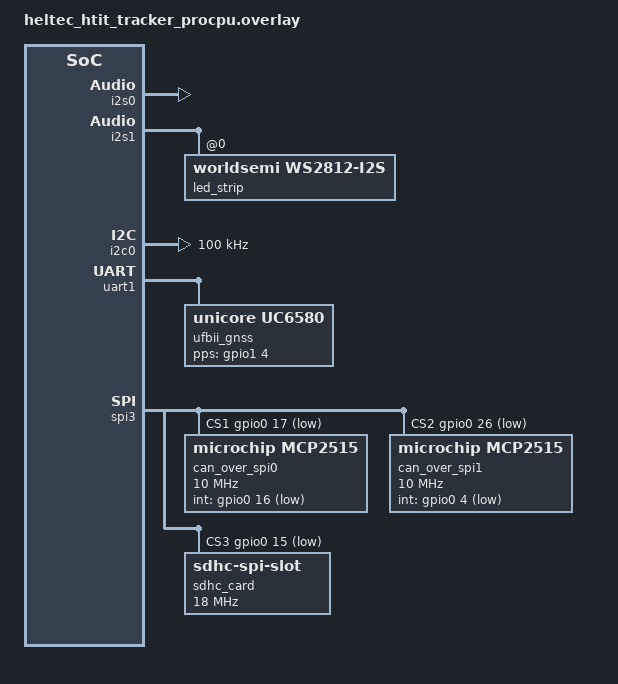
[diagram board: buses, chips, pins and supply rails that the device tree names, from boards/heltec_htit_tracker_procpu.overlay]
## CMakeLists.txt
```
cmake_minimum_required(VERSION 3.20.0)
find_package(Zephyr REQUIRED HINTS $ENV{ZEPHYR_BASE})

project(hyundai-remote)

target_sources(app PRIVATE 
    src/main.c
    src/built-in-test.c
    src/roles.c
    src/sys/storage.c
    src/sys/audio.c
    src/sys/nrvc2_can.c
    src/sys/comms.c
    src/sys/ledtach.c
)

target_include_directories(app PRIVATE
    nrvc2_security/include
    ../include/nrvc2
)

target_link_libraries(app PRIVATE 
    nrvc2_security
)
```

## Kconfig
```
config DEVICE_ROLE
    int "DEVICE_ROLE | 1: FOB, 2: TRC"
    range 1 2
    default 1 if CONFIG_BOARD_HELTEC_WIFI_LORA32_v3
    default 2 if CONFIG_BOARD_HELTEC_HTIT_TRACKER
    help
        Set device role, 1: fob-commander-transmitter, 2: tracker-controller-transponder

menu "Installed Devices"
    config EN_GPIO_LED0
        bool "LED0 Installed"
        default y
        help
            Enable if LED 0 is installed.

    config EN_GPIO_SW0
        bool "SW0 Installed"
        default y
        help
            Enable if Switch 0 is installed.

    config EN_DEV_LORA
        bool "LORA Installed"
        default y
        help
            Enable if LoRa transmitter is installed. 

    config EN_DEV_DISPLAY
        bool "Display Installed"
        default y
        help
            Enable if Display is installed. On TRC this enables backlight as well.
    
    config EN_DEV_SDHC
        bool "SD Card Installed"
        default y
        help
            Enable if SD Card/Reader is installed.
    
    if DEVICE_ROLE = 2 
        config EN_DEV_I2S
            bool "I2S Amp Installed"
            default y
            help
                Enable if I2S Amplifier is installed.

        config EN_DEV_UFIREBIRDII
            bool "UFirebirdII GNSS Installed"
            default y
            help
                Enable if UFirebirdII GNSS is installed.

        config EN_DEV_CAN0
            bool "CAN XCVR 0 Installed"
            default y
            help
                Enable if CAN transceiver 0 is installed. 
                TODO: When CAN1 added rename them from CANX to which net they are on.
                Ex: CAN0 -> CAN-OBD; CAN1 -> CAN-ECU or something....

        config EN_DEV_CAN1
            bool "CAN XCVR 1 Installed"
            default y
            help
                Enable if CAN transceiver 1 is installed

        config EN_DEV_LEDTACH
            bool "LED Tachometer Installed"
            default y
            help
                Enable if LED strip Tachometer is installed

        config LEDTACH_MAXBRIGHT
            int "Maximum brightness 0-255"
            default 96
            help
                Sets the maximum LED Tach Strip brightness
    endif
endmenu 

menu "Zephyr Kernel"
source "Kconfig.zephyr"
endmenu
```

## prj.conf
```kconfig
# memory
CONFIG_MAIN_STACK_SIZE=4096
CONFIG_SYSTEM_WORKQUEUE_STACK_SIZE=4096

CONFIG_GPIO=y
CONFIG_I2C=y
CONFIG_SPI=y

CONFIG_SERIAL=y
CONFIG_CONSOLE=y
CONFIG_UART_CONSOLE=y
CONFIG_UART_LINE_CTRL=y
CONFIG_UART_INTERRUPT_DRIVEN=y
CONFIG_SHELL=y
# CONFIG_CONSOLE_SUBSYS=y
CONFIG_STDOUT_CONSOLE=y
CONFIG_LOG=y
# CONFIG_LOG_BUFFER_SIZE=8192 # depends on deferred logging
CONFIG_PRINTK=y
# CONFIG_LOG_PRINTK=y

# display and lvgl
CONFIG_DISPLAY=y
# CONFIG_LVGL=y
# CONFIG_LV_USE_LABEL=y
# CONFIG_LV_USE_ARC=y
# CONFIG_LV_FONT_MONTSERRAT_14=y
# CONFIG_LV_Z_MEM_POOL_SIZE=250000

# sd card reqs
CONFIG_DISK_DRIVERS=y
CONFIG_DISK_ACCESS=y
CONFIG_FILE_SYSTEM=y
CONFIG_SDMMC_SUBSYS=y
CONFIG_DISK_DRIVER_SDMMC=y
CONFIG_FAT_FILESYSTEM_ELM=y
CONFIG_SD_LOG_LEVEL_WRN=y
CONFIG_FS_FATFS_LFN=y # large filenames >14 chars

# I2S audio reqs
CONFIG_I2S=y

# lora reqs
CONFIG_LORA=y

# kernel extras
CONFIG_KERNEL_SHELL=y
CONFIG_REBOOT=y

# disable outside of debugging
# CONFIG_LV_USE_LOG=y
CONFIG_LOG_MODE_IMMEDIATE=y
# CONFIG_STACK_SENTINEL=y
```

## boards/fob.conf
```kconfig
# devices
CONFIG_EN_GPIO_LED0=y
CONFIG_EN_GPIO_SW0=y
CONFIG_EN_DEV_LORA=n
CONFIG_EN_DEV_DISPLAY=n
CONFIG_EN_DEV_SDHC=n
# TODO: add i2s
```

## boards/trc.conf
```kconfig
# devices
CONFIG_EN_GPIO_LED0=y
CONFIG_EN_GPIO_SW0=y
CONFIG_EN_DEV_LORA=n
CONFIG_EN_DEV_DISPLAY=n
CONFIG_EN_DEV_SDHC=y
CONFIG_EN_DEV_I2S=n
CONFIG_EN_DEV_UFIREBIRDII=y


# ufirebirdii reqs
CONFIG_UFIREBIRDII=y
CONFIG_UC6580=y
CONFIG_SYSTEM_WORKQUEUE_STACK_SIZE=2048
CONFIG_PICOLIBC_IO_FLOAT=y

# CAN reqs
CONFIG_CAN=y
CONFIG_CAN_SHELL=y
CONFIG_CAN_MCP2515=y

# CAN Not ready as I need proper CANFD modules
CONFIG_EN_DEV_CAN0=n
CONFIG_EN_DEV_CAN1=n

# LED Strip
CONFIG_LED_STRIP=y
CONFIG_EN_DEV_LEDTACH=y
CONFIG_LEDTACH_MAXBRIGHT=16

# MDR I2C Testing
CONFIG_I2C=y
CONFIG_SHELL=y
CONFIG_I2C_SHELL=y
```

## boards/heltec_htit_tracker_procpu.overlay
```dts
#include <zephyr/dt-bindings/led/led.h>

/ {
    aliases {
        can0 = &can_over_spi0;
        can1 = &can_over_spi1;
        sdhc0 = &sdhc_card;
        i2s-tx = &i2s0;
        ufirebirdii = &ufbii_gnss;
        ledtach = &led_strip;
    };

    chosen {
        zephyr,canbus = &can_over_spi0;
    };
};

&pinctrl {
    i2s0_default: i2s0_default {
        group1 {
            pinmux = <I2S0_O_WS_GPIO7>, // set output WS pin (LRC)
                    <I2S0_O_BCK_GPIO6>, // set outpit BCK pin (BCLK)
                    <I2S0_O_SD_GPIO5>; // serial data, not mode select (DIN)
        };
    };

    i2s1_default: i2s1_default {
        group1 {
            pinmux = <I2S1_O_SD_GPIO1>; // replaces ADC in
        };
    };

    i2c0_default: i2c0_default {
        group1 {
            pinmux = <I2C0_SDA_GPIO45>, // MDA SDA
                <I2C0_SCL_GPIO46>;      // MDA SCL
            drive-open-drain;
            bias-pull-up;
        };
    };
};

&i2s0 {
    status = "okay";
    pinctrl-0 = <&i2s0_default>;
    pinctrl-names = "default";

    dmas = <&dma 3>;
    dma-names = "tx";
};

&i2s1 {
    status = "okay";
    pinctrl-0 = <&i2s1_default>;
    pinctrl-names = "default";

    dmas = <&dma 5>;
    dma-names = "tx";

    led_strip: ws2812@0 {
		compatible = "worldsemi,ws2812-i2s";
        reg = <0>;

        chain-length = <21>;
		color-mapping = <LED_COLOR_ID_GREEN
				 LED_COLOR_ID_RED
				 LED_COLOR_ID_BLUE>;
		reset-delay = <500>;
    };
};

&dma {
    status = "okay";
};

&i2c0 {
    status = "okay";
    pinctrl-0 = <&i2c0_default>;
    pinctrl-names = "default";
    clock-frequency = <I2C_BITRATE_STANDARD>; // increase later if needed
};

&uart1 {
    ufbii_gnss: uc6580 {
        compatible = "unicore,uc6580";
        status = "okay";
        pps-gpios = <&gpio1 4 GPIO_ACTIVE_HIGH>; // GPIO 36 == GPIO1 4
    };
};

&spi3 {
    cs-gpios = <&gpio0 8 GPIO_ACTIVE_LOW>,  // preexisting lora cs
            <&gpio0 17 GPIO_ACTIVE_LOW>,    // CAN module 0
            <&gpio0 26 GPIO_ACTIVE_LOW>,    // CAN module 1
            <&gpio0 15 GPIO_ACTIVE_LOW>;    // SD card

    can_over_spi0: can@1 {
        compatible = "microchip,mcp2515";
        reg = <1>;
        status = "okay";
        osc-freq = <DT_FREQ_M(8)>;
        int-gpios = <&gpio0 16 GPIO_ACTIVE_LOW>;
        spi-max-frequency = <DT_FREQ_M(10)>;
    };

    can_over_spi1: can@2 {
        compatible = "microchip,mcp2515";
        reg = <2>;
        status = "okay";
        osc-freq = <DT_FREQ_M(8)>;
        int-gpios = <&gpio0 4 GPIO_ACTIVE_LOW>;
        spi-max-frequency = <DT_FREQ_M(10)>;
    };

    sdhc_card: sdhc@3 {
        compatible = "zephyr,sdhc-spi-slot";
        reg = <3>;
        status = "okay";
        mmc {
            compatible = "zephyr,sdmmc-disk";
            disk-name = "SD";
            status = "okay";
        };
        spi-max-frequency = <DT_FREQ_M(18)>;
    };
};
```

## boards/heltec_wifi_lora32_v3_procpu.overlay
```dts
/ {
    aliases {
    };

    chosen {
    };
};

&pinctrl {
    spim3_default: spim3_default {
		group1 {
			pinmux = <SPIM3_MISO_GPIO41>,
				 <SPIM3_SCLK_GPIO39>;
		};
		group2 {
			pinmux = <SPIM3_MOSI_GPIO40>;
			output-low;
		};
	};
};

&spi3 {
    #address-cells = <1>;
    #size-cells = <0>;
    status = "okay";
    pinctrl-0 = <&spim3_default>;
    pinctrl-names = "default";
    cs-gpios = <&gpio1 10 GPIO_ACTIVE_LOW>; // SD card GPIO 42 == GPIO1 10

    sdhc_card: sdhc@0 {
        compatible = "zephyr,sdhc-spi-slot";
        reg = <0>;
        status = "okay";
        mmc {
            compatible = "zephyr,sdmmc-disk";
            disk-name = "SD";
            status = "okay";
        };
        spi-max-frequency = <DT_FREQ_M(18)>;
    };
};
```

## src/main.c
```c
#include <stdio.h>
#include <zephyr/logging/log.h>
#include <zephyr/kernel.h>

#include <nrvc2_security.h>
#include <nrvc2_errno.h>

#include "built-in-test.h"
#include "roles.h"

LOG_MODULE_REGISTER(main);

int main(void) {
    printk("Waking up...\n\n");
    
    k_msleep(2 * 1000);

    bool configured = role_config();
    if (!configured) {
        LOG_ERR("ROLE CFG FAIL");
    }
    
    bit_basic();

    // comms test
    const char pt[] = "The quick brown fox jumped over the lazy dog!\n";
    uint8_t ct[sizeof(pt)];
    uint8_t pt_out[sizeof(pt)];
    const keyopt_t keyopt = NRVC2_KEYOPT_SESS_COMMS_TRC2FOB;
    uint8_t tag[NRVC2_SECURITY_TAG_SIZE];

    // encryption test
    int ret = nrvc2_security_encrypt_and_sign(keyopt, pt, sizeof(pt), ct, tag);
    printk("encrypt and sign 1 returns %d\n", ret);

    printk("sign 1: 0x");
    for (uint8_t* tb = tag; tb < tag + sizeof(tag); tb++)
        printk("%02x", *tb);
    printk("\n");

    printk("ct 1: 0x");
    for (uint8_t* cb = ct; cb < ct + sizeof(ct); cb++)
        printk("%02x", *cb);
    printk("\n");

    // decryption test
    int seqn = 0;
    ret = nrvc2_security_decrypt_and_verify(keyopt, ct, sizeof(ct), seqn, tag, pt_out);
    if (ret == -EAUTH)
        printk("Auth error!\n");
    if (ret == -ESEQUENCE)
        printk("Sequence number error!\n");

    
    printk("pt: '");
    for (char* c = pt_out; c < pt_out + sizeof(pt_out); c++)
        printk("%c", *c);
    printk("'\n");


    return 0;
}
```

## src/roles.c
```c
#include "roles.h"

#include <zephyr/logging/log.h>
#include <zephyr/fs/fs.h>
#include <zephyr/storage/disk_access.h>
#include <zephyr/drivers/display.h>
#include <zephyr/shell/shell.h>
#include <nrvc2_security.h>

#include "sys/nrvc2_can.h"
#include "sys/comms.h"
#include "sys/ledtach.h"

const char *FOB_STR = "FOB-COMMANDER-XMTR";
const char *TRC_STR = "TRACK-CONTROL-XPDR";

#if CONFIG_EN_GPIO_LED0
#define LED0_NODE DT_ALIAS(led0)
const struct gpio_dt_spec led0 = GPIO_DT_SPEC_GET(LED0_NODE, gpios);
#endif

#if CONFIG_EN_GPIO_SW0
#define SW0_NODE DT_ALIAS(sw0)
const struct gpio_dt_spec sw0 = GPIO_DT_SPEC_GET(SW0_NODE, gpios);
#endif

#if CONFIG_EN_DEV_LORA
#define LORA_NODE DT_NODELABEL(lora0)
const struct device * const lora = DEVICE_DT_GET(LORA_NODE);
#endif

#if defined(CONFIG_DEVICE_ROLE) && (CONFIG_DEVICE_ROLE == DEF_ROLE_FOB)

#if CONFIG_EN_DEV_DISPLAY
#define DISPLAY_NODE DT_CHOSEN(zephyr_display)
const struct device * const display = DEVICE_DT_GET(DISPLAY_NODE);
#endif

static role_devs_t m_role_devs_fob = {
#if CONFIG_EN_GPIO_LED0
    .gpio_led0 = &led0,
    .gpio_led0_stat = DEVSTAT_NOT_RDY,
#else
    .gpio_led0 = NULL,
    .gpio_led0_stat = DEVSTAT_NOTINSTALLED,
#endif

#if CONFIG_EN_GPIO_SW0
    .gpio_sw0 = &sw0,
    .gpio_sw0_stat = DEVSTAT_NOT_RDY,
#else
    .gpio_sw0 = &sw0,
    .gpio_sw0_stat = DEVSTAT_NOTINSTALLED,
#endif

#if CONFIG_EN_DEV_LORA
    .dev_lora = lora,
    .dev_lora_stat = DEVSTAT_NOT_RDY,
#else
    .dev_lora = NULL,
    .dev_lora_stat = DEVSTAT_NOTINSTALLED,
#endif

#if CONFIG_EN_DEV_DISPLAY
    .dev_display = display,
    .gpio_blight = NULL,
    .dev_display_stat = DEVSTAT_NOT_RDY,
    .gpio_blight_stat = DEVSTAT_NOTINSTALLED,
#else
    .dev_display = NULL,
    .gpio_blight = NULL,
    .dev_display_stat = DEVSTAT_NOTINSTALLED,
    .gpio_blight_stat = DEVSTAT_NOTINSTALLED,
#endif

    .dev_can0 = NULL,
    .dev_can0_stat  = DEVSTAT_NOTINSTALLED,

    .dev_can1 = NULL,
    .dev_can1_stat = DEVSTAT_NOTINSTALLED,

    .dev_i2s = NULL,
    .dev_i2s_stat = DEVSTAT_NOTINSTALLED,

    .dev_ufirebirdii = NULL,
    .dev_ufirebirdii_stat = DEVSTAT_NOTINSTALLED,

    .dev_ledtach = NULL,
    .dev_ledtach_stat = DEVSTAT_NOTINSTALLED,
    .dev_ledtach_chainlen = 0,

#if CONFIG_EN_DEV_SDHC
    .dev_sdcard_stat = DEVSTAT_NOT_RDY,
#else
    .dev_sdcard_stat = DEVSTAT_NOTINSTALLED
#endif
};
role_devs_t* role_devs = &m_role_devs_fob;

#elif defined(CONFIG_DEVICE_ROLE) && (CONFIG_DEVICE_ROLE == DEF_ROLE_TRC)

#if CONFIG_EN_DEV_DISPLAY
#define DISPLAY_NODE DT_CHOSEN(zephyr_display)
const struct device * const display = DEVICE_DT_GET(DISPLAY_NODE);
#define BLIGHT_NODE DT_ALIAS(blight)
const struct gpio_dt_spec blight = GPIO_DT_SPEC_GET(BLIGHT_NODE, gpios);
#endif

#if CONFIG_EN_DEV_I2S
#define I2S_NODE DT_ALIAS(i2s_tx)
const struct device * const i2s = DEVICE_DT_GET(I2S_NODE);
#endif

#if CONFIG_EN_DEV_UFIREBIRDII
#define UFIREBIRDII_NODE DT_ALIAS(ufirebirdii)
const struct device * const ufirebirdii = DEVICE_DT_GET(UFIREBIRDII_NODE);
#endif

#if CONFIG_EN_DEV_CAN0
#define CAN0_NODE DT_ALIAS(can0) 
const struct device * const can0 = DEVICE_DT_GET(CAN0_NODE);
#endif

#if CONFIG_EN_DEV_CAN1
#define CAN1_NODE DT_ALIAS(can1)
const struct device * const can1 = DEVICE_DT_GET(CAN1_NODE);
#endif

#if CONFIG_EN_DEV_LEDTACH
#define LEDTACH_NODE DT_ALIAS(ledtach)
const struct device * const ledtach = DEVICE_DT_GET(LEDTACH_NODE);
const size_t ledtach_chainlen = DT_PROP(LEDTACH_NODE, chain_length);
#endif

static role_devs_t m_role_devs_trc = {
#if CONFIG_EN_GPIO_LED0
    .gpio_led0 = &led0,
    .gpio_led0_stat = DEVSTAT_NOT_RDY,
#else
    .gpio_led0 = NULL,
    .gpio_led0_stat = DEVSTAT_NOTINSTALLED,
#endif

#if CONFIG_EN_GPIO_SW0
    .gpio_sw0 = &sw0,
    .gpio_sw0_stat = DEVSTAT_NOT_RDY,
#else
    .gpio_sw0 = &sw0,
    .gpio_sw0_stat = DEVSTAT_NOTINSTALLED,
#endif

#if CONFIG_EN_DEV_LORA
    .dev_lora = lora,
    .dev_lora_stat = DEVSTAT_NOT_RDY,
#else
    .dev_lora = NULL,
    .dev_lora_stat = DEVSTAT_NOTINSTALLED,
#endif

#if CONFIG_EN_DEV_DISPLAY
    .dev_display = display,
    .gpio_blight = &blight,
    .dev_display_stat = DEVSTAT_NOT_RDY,
    .gpio_blight_stat = DEVSTAT_NOT_RDY,
#else
    .dev_display = NULL,
    .gpio_blight = NULL,
    .dev_display_stat = DEVSTAT_NOTINSTALLED,
    .gpio_blight_stat = DEVSTAT_NOTINSTALLED,
#endif

#if CONFIG_EN_DEV_CAN0
    .dev_can0 = can0,
    .dev_can0_stat = DEVSTAT_NOT_RDY,
#else
    .dev_can0 = NULL,
    .dev_can0_stat  = DEVSTAT_NOTINSTALLED,
#endif

#if CONFIG_EN_DEV_CAN1
    .dev_can1 = can1,
    .dev_can1_stat = DEVSTAT_NOT_RDY,
#else
    .dev_can0 = NULL,
    .dev_can0_stat  = DEVSTAT_NOTINSTALLED,
#endif

#if CONFIG_EN_DEV_I2S
    .dev_i2s = i2s,
    .dev_i2s_stat = DEVSTAT_NOT_RDY,
#else
    .dev_i2s = NULL,
    .dev_i2s_stat = DEVSTAT_NOTINSTALLED,
#endif

#if CONFIG_EN_DEV_UFIREBIRDII
    .dev_ufirebirdii = ufirebirdii,
    .dev_ufirebirdii_stat = DEVSTAT_NOT_RDY,
#else
    .dev_ufirebirdii = NULL,
    .dev_ufirebirdii_stat = DEVSTAT_NOTINSTALLED,
#endif

#if CONFIG_EN_DEV_LEDTACH
    .dev_ledtach = ledtach,
    .dev_ledtach_stat = DEVSTAT_NOT_RDY,
    .dev_ledtach_chainlen = ledtach_chainlen,
#else
    .dev_ledtach = NULL,
    .dev_ledtach_stat = DEVSTAT_NOTINSTALLED,
    .dev_ledtach_chainlen = 0,
#endif

#if CONFIG_EN_DEV_SDHC
    .dev_sdcard_stat = DEVSTAT_NOT_RDY
#else
    .dev_sdcard_stat = DEVSTAT_NOTINSTALLED
#endif
};
role_devs_t* role_devs = &m_role_devs_trc;

#endif

LOG_MODULE_REGISTER(roles, LOG_LEVEL_DBG);

static bool init_common()
{ 
    const char *HASHES = "################################";
    printk("%s\n", HASHES);
    printk("#           CFG INIT           #\n");
    printk("%s\n", HASHES);

    bool rdy = true;

    // LED0
    if (role_devs->gpio_led0_stat == DEVSTAT_NOTINSTALLED)
        LOG_INF("LED0\t\tNOT INSTALLED");
    else if (!device_is_ready(role_devs->gpio_led0->port)) {
        LOG_ERR("LED device is not ready");
        role_devs->gpio_led0_stat = DEVSTAT_ERR;
        rdy = false;
    } else {
        role_devs->gpio_led0_stat = DEVSTAT_RDY;
        LOG_INF("LED0\t\tRDY");
    }
    
    // SW0
    if (role_devs->gpio_sw0_stat == DEVSTAT_NOTINSTALLED)
        LOG_INF("SW0\t\tNOT INSTALLED");
    if (!device_is_ready(role_devs->gpio_sw0->port)) {
        LOG_ERR("User switch device is not ready");
        role_devs->gpio_sw0_stat = DEVSTAT_ERR;
        rdy = false;
    } else {
        role_devs->gpio_sw0_stat = DEVSTAT_RDY;
        LOG_INF("SW0\t\tRDY");
    }
    
    // LORA
    if (role_devs->dev_lora_stat == DEVSTAT_NOTINSTALLED)
        LOG_INF("LORA\t\tNOT INSTALLED");
    else if (!device_is_ready(role_devs->dev_lora)) {
        LOG_ERR("LoRa device is not ready");
        role_devs->dev_lora_stat = DEVSTAT_ERR;
        rdy = false;
    } else {
        role_devs->dev_lora_stat = DEVSTAT_RDY;
        LOG_INF("LORA\t\tRDY");
    }

    // Display
    if (role_devs->dev_display_stat == DEVSTAT_NOTINSTALLED)
        LOG_INF("DISPLAY\t\tNOT INSTALLED");
    else if (!device_is_ready(role_devs->dev_display)) {
        LOG_ERR("Display device is not ready");
        role_devs->dev_display_stat = DEVSTAT_ERR;
        rdy = false;
    } else {
        role_devs->dev_display_stat = DEVSTAT_RDY;
        LOG_INF("DISPLAY\t\tRDY");

        // clear display
        int ret = display_blanking_on(role_devs->dev_display);
        if (ret < 0) {
            LOG_ERR("Display blanking on failed: %d", ret);
            role_devs->dev_display_stat = DEVSTAT_ERR;
            rdy = false;
        }
    }

    // SDHC
    if (role_devs->dev_sdcard_stat == DEVSTAT_NOTINSTALLED) 
        LOG_INF("SDHC\t\tNOT INSTALLED");
    else {
        do {
            const char* disk_pdrv = "SD";

            int ret = disk_access_ioctl(disk_pdrv, DISK_IOCTL_CTRL_INIT, NULL);

            if (ret < 0) {
                LOG_ERR("SD card init failed: storage init error %d", ret);
                role_devs->dev_sdcard_stat = DEVSTAT_ERR;
                rdy = false;
                break;
            }

            k_msleep(2);

            ret = disk_access_ioctl(disk_pdrv, DISK_IOCTL_CTRL_DEINIT, NULL);
            if (ret < 0) {
                LOG_ERR("SD card init failed: storage deinit error %d", ret);
                role_devs->dev_sdcard_stat = DEVSTAT_ERR;
                rdy = false;
                break;
            }

            role_devs->dev_sdcard_stat = DEVSTAT_RDY;  
            LOG_INF("SDHC\t\tRDY");
        } while (false);
    }

    // Systems
    // Security
    {
        int ret = nrvc2_security_init();
        if (ret < 0) {
            LOG_ERR("Security init failed: %d", ret);
            rdy = false;
        }

        LOG_INF("SECURITY\tRDY");
    }

    // Comms
    // requires lora to be ready to configure modem
    if (role_devs->dev_lora_stat != DEVSTAT_RDY)
        LOG_INF("COMMS\t\tDISABLED");
    else {
        int ret = comms_init();
        
        if (ret < 0) {
            LOG_ERR("Comms init failed: %d", ret);
            rdy = false;
            LOG_INF("COMMS\t\tRDY");
        }
    }

    return rdy;
}


#if defined(CONFIG_DEVICE_ROLE) && (CONFIG_DEVICE_ROLE == DEF_ROLE_FOB)
static bool init_fob() {
    return true;
}

#elif defined(CONFIG_DEVICE_ROLE) && (CONFIG_DEVICE_ROLE == DEF_ROLE_TRC)

static bool init_trc_i2s() {
    if (role_devs->dev_i2s_stat == DEVSTAT_NOTINSTALLED) {
        LOG_INF("I2S\t\tNOT INSTALLED");
        return true;
    }

    int ret = device_is_ready(role_devs->dev_i2s);
    if (ret < 0) {
        LOG_ERR("I2S device is not ready");
        role_devs->dev_i2s_stat = DEVSTAT_ERR;
        return false;
    }

    role_devs->dev_i2s_stat = DEVSTAT_RDY;
    LOG_INF("I2S\t\tRDY");
    return true;
}

static bool init_trc_ufirebirdii() {
    if (role_devs->dev_ufirebirdii_stat == DEVSTAT_NOTINSTALLED) {
        LOG_INF("UFirebirdII\tNOT INSTALLED");
        return true;
    }

    int ret = device_is_ready(role_devs->dev_ufirebirdii);
    if (ret < 0) {
        LOG_ERR("UFirebirdII device is not ready");
        role_devs->dev_ufirebirdii_stat = DEVSTAT_ERR;
        return false;
    }

    role_devs->dev_ufirebirdii_stat = DEVSTAT_RDY;
    LOG_INF("UFirebirdII\tRDY");
    
    return true;
}

static bool init_trc_can0() {
    if (role_devs->dev_can0_stat == DEVSTAT_NOTINSTALLED) {
        LOG_INF("CAN0\t\tNOT INSTALLED");
        return true;
    }
    
    int ret = device_is_ready(role_devs->dev_can0);
    if (ret < 0) {
        LOG_ERR("CAN device is not ready");
        role_devs->dev_can0_stat = DEVSTAT_ERR;
        return false;
    }

    ret = can_init(role_devs->dev_can0, "CAN0");
    if (ret < 0) {
        role_devs->dev_can0_stat = DEVSTAT_ERR;        
        return false;
    }

    role_devs->dev_can0_stat = DEVSTAT_RDY;
    LOG_INF("CAN0\t\tRDY");

    return true;
}

static bool init_trc_can1() {
    if (role_devs->dev_can1_stat == DEVSTAT_NOTINSTALLED) {
        LOG_INF("CAN1\t\tNOT INSTALLED");
        return true;
    }

    int ret = device_is_ready(role_devs->dev_can1);
    if (ret < 0) {
        LOG_ERR("CAN1 device is not ready");
        role_devs->dev_can1_stat = DEVSTAT_ERR;
        return false;
    }

    ret = can_init(role_devs->dev_can1, "CAN1");
    if (ret < 0) {
        role_devs->dev_can1_stat = DEVSTAT_ERR;        
        return false;
    }

    role_devs->dev_can1_stat = DEVSTAT_RDY;
    LOG_INF("CAN1\t\tRDY");
    
    return true;
}

static bool init_trc_ledtach() {
    if (role_devs->dev_ledtach_stat == DEVSTAT_NOTINSTALLED) {
        LOG_INF("LEDTACH\t\tNOT INSTALLED");
        return true;
    }

    if (!device_is_ready(role_devs->dev_ledtach)) {
        LOG_ERR("LEDTACH device is not ready");
        role_devs->dev_ledtach_stat = DEVSTAT_ERR;
        return false;
    }

    const struct device * const i2s1 = DEVICE_DT_GET(DT_NODELABEL(i2s1));
    if (!device_is_ready(i2s1)) {
        LOG_ERR("LEDTACH I2S DMA is not ready");
        role_devs->dev_ledtach_stat = DEVSTAT_ERR;
        return false;
    }

    if (role_devs->dev_ledtach_chainlen < 1) {
        LOG_ERR("LEDTACH chain length prop must be nonzero");
        role_devs->dev_ledtach_stat = DEVSTAT_ERR;
        return false;
    }

    int ret = ledtach_init();
    if (ret < 0) {
        LOG_ERR("Failed to init LEDTACH SYS: %d", ret);
        role_devs->dev_ledtach_stat = DEVSTAT_ERR;
        return false;
    }

    role_devs->dev_ledtach_stat = DEVSTAT_RDY;
    LOG_INF("LEDTACH\t\tRDY");

    return true;
}

static bool init_trc() {
    bool rdy = true;

    if (role_devs->dev_display_stat == DEVSTAT_RDY && !device_is_ready(role_devs->gpio_blight->port)) {
        LOG_ERR("TRC Backlight GPIO Dev not ready.");
        role_devs->dev_display_stat = DEVSTAT_NOT_RDY;
        role_devs->gpio_blight_stat = DEVSTAT_ERR;
        rdy = false;
    } else 
        role_devs->gpio_blight_stat = DEVSTAT_RDY;

    rdy &= init_trc_i2s();

    rdy &= init_trc_ufirebirdii();

    rdy &= init_trc_can0();
    rdy &= init_trc_can1();

    rdy &= init_trc_ledtach();

    return rdy;
}

#endif

bool role_config()
{
    // config common
    bool success = true;

    success &= init_common();
    if (!success)
        LOG_ERR("Role init common failed.");

    dev_role role = role_get();

    switch (role)
    {
    case ROLE_FOB:
#if defined(CONFIG_DEVICE_ROLE) && (CONFIG_DEVICE_ROLE == DEF_ROLE_FOB)
        success &= init_fob();
#endif
        break;
    case ROLE_TRC:
#if defined(CONFIG_DEVICE_ROLE) && (CONFIG_DEVICE_ROLE == DEF_ROLE_TRC)
        success &= init_trc();
#endif
        break;
    case ROLE_UKN:
    default:
        LOG_ERR("Role init failed: Unknown role.");
        return false;
    }

    LOG_INF("Role %s configuration %s.", role_tostring(), success ? "complete" : "incomplete");
    return success;
}

static const char* devstat_to_str(devstat_t s) {
    switch (s) {
        case DEVSTAT_NOTINSTALLED: return "NOT INSTALLED";
        case DEVSTAT_NOT_RDY: return "NOT RDY";
        case DEVSTAT_RDY: return "RDY";
        case DEVSTAT_ERR: return "ERR";
        default: return "UNKNOWN";
    }
}

static int shell_role_status(const struct shell *shell, size_t argc, char **argv) {
    (void)shell; (void)argc; (void)argv;

    LOG_INF("--- Device status ---");
    LOG_INF("LED0\t\t%s", devstat_to_str(role_devs->gpio_led0_stat));
    LOG_INF("SW0\t\t%s", devstat_to_str(role_devs->gpio_sw0_stat));
    LOG_INF("LORA\t\t%s", devstat_to_str(role_devs->dev_lora_stat));
    LOG_INF("DISPLAY\t\t%s", devstat_to_str(role_devs->dev_display_stat));
    LOG_INF("BLIGHT\t\t%s", devstat_to_str(role_devs->gpio_blight_stat));
    LOG_INF("CAN0\t\t%s", devstat_to_str(role_devs->dev_can0_stat));
    LOG_INF("CAN1\t\t%s", devstat_to_str(role_devs->dev_can1_stat));
    LOG_INF("I2S\t\t%s", devstat_to_str(role_devs->dev_i2s_stat));
    LOG_INF("UFBII\t\t%s", devstat_to_str(role_devs->dev_ufirebirdii_stat));
    LOG_INF("SDHC\t\t%s", devstat_to_str(role_devs->dev_sdcard_stat));
    LOG_INF("LEDTACH\t\t%s", devstat_to_str(role_devs->dev_ledtach_stat));

    LOG_INF("--- Systems status ---");
    LOG_INF("SECURITY\t%s", nrvc2_security_rdy() ? "RDY" : "NOT RDY");
    LOG_INF("COMMS\t\t%s", comms_rdy() ? "RDY" : "NOT RDY");
    LOG_INF("LEDTACH\t\t%s", ledtach_rdy() ? "RDY" : "NOT RDY");

    return 0;
}


SHELL_STATIC_SUBCMD_SET_CREATE(sub_role,
    SHELL_CMD(status, NULL, "Print device status", shell_role_status),
    SHELL_SUBCMD_SET_END
);

SHELL_CMD_REGISTER(role, &sub_role, "Role utilities", NULL);
```

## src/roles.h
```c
/// Provides devices and role management

#ifndef ROLES_H
#define ROLES_H

#include <stdbool.h>

#include <zephyr/kernel.h>
#include <zephyr/drivers/gpio.h>
#include <zephyr/linker/linker-defs.h>

extern const char* FOB_STR;
extern const char* TRC_STR;

#define DEF_ROLE_FOB 1
#define DEF_ROLE_TRC 2
#define DEF_ROLE_UKN 0

#define DEF_ROLE_IS_TRC (defined(CONFIG_DEVICE_ROLE) && (CONFIG_DEVICE_ROLE == DEF_ROLE_TRC))
#define ROLE_IS_FOB (role_get() == ROLE_FOB)
#define ROLE_IS_TRC (role_get() == ROLE_TRC)

typedef enum {
   DEVSTAT_NOTINSTALLED = 0,
   DEVSTAT_NOT_RDY,
   DEVSTAT_RDY,
   DEVSTAT_ERR
} devstat_t;

typedef struct  {
   const struct gpio_dt_spec *gpio_led0;
   devstat_t gpio_led0_stat;

   const struct gpio_dt_spec *gpio_sw0;
   devstat_t gpio_sw0_stat;

   const struct device *dev_lora;
   devstat_t dev_lora_stat;

   const struct device *dev_display;
   const struct gpio_dt_spec *gpio_blight;
   devstat_t dev_display_stat;
   devstat_t gpio_blight_stat;

   const struct device *dev_can0;
   devstat_t dev_can0_stat;

   const struct device *dev_can1;
   devstat_t dev_can1_stat;

   const struct device *dev_i2s;
   devstat_t dev_i2s_stat;

   const struct device *dev_ufirebirdii;
   devstat_t dev_ufirebirdii_stat;

   const struct device *dev_ledtach;
   devstat_t dev_ledtach_stat;
   const size_t dev_ledtach_chainlen;

   devstat_t dev_sdcard_stat;
} role_devs_t;

extern role_devs_t* role_devs;

#if defined(CONFIG_DEVICE_ROLE) && (CONFIG_DEVICE_ROLE == DEF_ROLE_FOB)
#define LORA_MAX_POW_DBM 19 // up to 21±1

#elif defined(CONFIG_DEVICE_ROLE) && (CONFIG_DEVICE_ROLE == DEF_ROLE_TRC)
#define LORA_MAX_POW_DBM 19 // up to 21±1

#endif
#define LORA_DEFAULT_SF SF_8
#define LORA_DEFAULT_PREAMBLE_LEN 18

typedef enum {
   ROLE_FOB = DEF_ROLE_FOB,
   ROLE_TRC = DEF_ROLE_TRC,
   ROLE_UKN = DEF_ROLE_UKN
} dev_role;

inline const dev_role role_get() {
#if defined(CONFIG_DEVICE_ROLE) && (CONFIG_DEVICE_ROLE == DEF_ROLE_FOB)
   return ROLE_FOB;
#elif defined(CONFIG_DEVICE_ROLE) && (CONFIG_DEVICE_ROLE == DEF_ROLE_TRC)
   return ROLE_TRC;
#else
   return ROLE_UKN;
#endif
}

inline const char* role_tostring() {
   dev_role role = role_get();

   switch (role) {
      case ROLE_FOB:
         return FOB_STR;
      case ROLE_TRC:
         return TRC_STR;
      case ROLE_UKN:
      default:
         return "UNKNOWN";
   }
}

/**
 * Automatically get device role and configure GPIOs
 */
bool role_config();

#endif // ROLES_H
```
